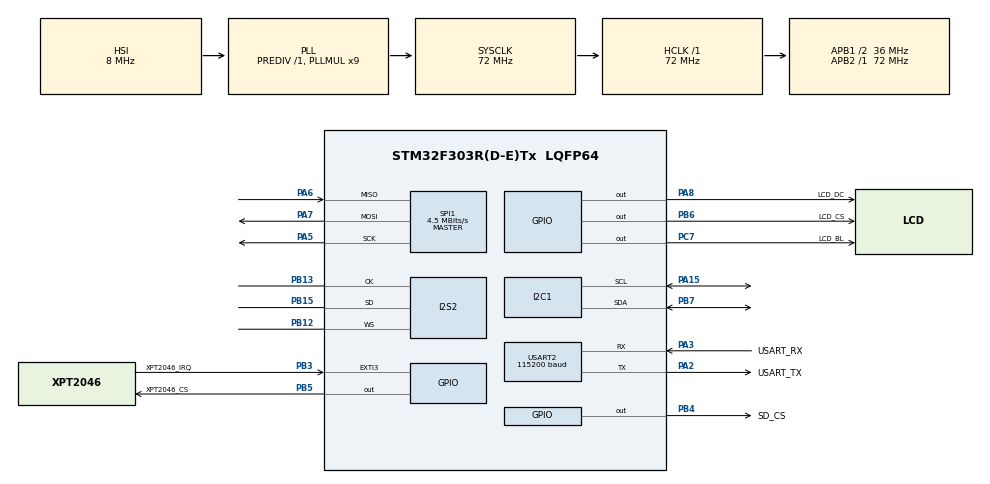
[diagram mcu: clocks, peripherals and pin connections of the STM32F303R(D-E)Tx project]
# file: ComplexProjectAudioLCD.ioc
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Dma.Request0=SPI2_TX
Dma.SPI2_TX.0.Direction=DMA_MEMORY_TO_PERIPH
Dma.SPI2_TX.0.Instance=DMA1_Channel5
Dma.SPI2_TX.0.MemDataAlignment=DMA_MDATAALIGN_HALFWORD
Dma.SPI2_TX.0.MemInc=DMA_MINC_ENABLE
Dma.SPI2_TX.0.Mode=DMA_NORMAL
Dma.SPI2_TX.0.PeriphDataAlignment=DMA_PDATAALIGN_HALFWORD
Dma.SPI2_TX.0.PeriphInc=DMA_PINC_DISABLE
Dma.SPI2_TX.0.Priority=DMA_PRIORITY_VERY_HIGH
I2C1.Timing=0x10808DD3
I2S2.AudioFreq=I2S_AUDIOFREQ_16K
I2S2.ErrorAudioFreq=-0.26 %
I2S2.FullDuplexMode=I2S_FULLDUPLEXMODE_DISABLE
I2S2.Instance=SPI$Index
I2S2.RealAudioFreq=15.957 KHz
I2S2.VirtualMode=I2S_MODE_MASTER
Mcu.Family=STM32F3
Mcu.Name=STM32F303R(D-E)Tx
Mcu.Package=LQFP64
NVIC.DMA1_Channel5_IRQn=true\:0\:0\:false\:false\:true\:false\:true
NVIC.EXTI3_IRQn=true\:1\:0\:true\:false\:true\:true\:true
NVIC.PriorityGroup=NVIC_PRIORITYGROUP_4
PA13.Mode=Serial_Wire
PA13.Signal=SYS_JTMS-SWDIO
PA14.Mode=Serial_Wire
PA14.Signal=SYS_JTCK-SWCLK
PA15.Mode=I2C
PA15.Signal=I2C1_SCL
PA2.GPIO_Label=USART_TX
PA2.GPIO_Mode=GPIO_MODE_AF_PP
PA2.GPIO_PuPd=GPIO_NOPULL
PA2.GPIO_Speed=GPIO_SPEED_FREQ_HIGH
PA2.Mode=Asynchronous
PA2.Signal=USART2_TX
PA3.GPIO_Label=USART_RX
PA3.GPIO_Mode=GPIO_MODE_AF_PP
PA3.GPIO_PuPd=GPIO_NOPULL
PA3.GPIO_Speed=GPIO_SPEED_FREQ_HIGH
PA3.Mode=Asynchronous
PA3.Signal=USART2_RX
PA5.Mode=Full_Duplex_Master
PA5.Signal=SPI1_SCK
PA6.Mode=Full_Duplex_Master
PA6.Signal=SPI1_MISO
PA7.Mode=Full_Duplex_Master
PA7.Signal=SPI1_MOSI
PA8.GPIO_Label=LCD_DC
PA8.GPIO_PuPd=GPIO_PULLUP
PA8.GPIO_Speed=GPIO_SPEED_FREQ_HIGH
PA8.PinState=GPIO_PIN_SET
PA8.Signal=GPIO_Output
PB12.GPIO_Speed=GPIO_SPEED_FREQ_HIGH
PB12.Mode=Half_Duplex_Master
PB12.Signal=I2S2_WS
PB13.GPIO_Speed=GPIO_SPEED_FREQ_HIGH
PB13.Mode=Half_Duplex_Master
PB13.Signal=I2S2_CK
PB15.GPIO_Speed=GPIO_SPEED_FREQ_HIGH
PB15.Mode=Half_Duplex_Master
PB15.Signal=I2S2_SD
PB3.GPIO_Label=XPT2046_IRQ
PB3.GPIO_ModeDefaultEXTI=GPIO_MODE_IT_FALLING
PB3.Signal=GPXTI3
PB4.GPIO_Label=SD_CS
PB4.GPIO_PuPd=GPIO_NOPULL
PB4.GPIO_Speed=GPIO_SPEED_FREQ_HIGH
PB4.PinState=GPIO_PIN_SET
PB4.Signal=GPIO_Output
PB5.GPIO_Label=XPT2046_CS
PB5.GPIO_PuPd=GPIO_PULLUP
PB5.GPIO_Speed=GPIO_SPEED_FREQ_HIGH
PB5.PinState=GPIO_PIN_SET
PB5.Signal=GPIO_Output
PB6.GPIO_Label=LCD_CS
PB6.GPIO_PuPd=GPIO_PULLUP
PB6.GPIO_Speed=GPIO_SPEED_FREQ_HIGH
PB6.PinState=GPIO_PIN_SET
PB6.Signal=GPIO_Output
PB7.GPIO_FM7=SYSCFG_CFGR1_I2C_PB7_FMP
PB7.Mode=I2C
PB7.Signal=I2C1_SDA
PC7.GPIO_Label=LCD_BL
PC7.GPIO_PuPd=GPIO_PULLUP
PC7.GPIO_Speed=GPIO_SPEED_FREQ_HIGH
PC7.PinState=GPIO_PIN_SET
PC7.Signal=GPIO_Output
PF0-OSC_IN.Mode=HSE-External-Oscillator
PF0-OSC_IN.Signal=RCC_OSC_IN
PF1-OSC_OUT.Mode=HSE-External-Oscillator
PF1-OSC_OUT.Signal=RCC_OSC_OUT
ProjectManager.HeapSize=0x500
ProjectManager.StackSize=0x2000
ProjectManager.TargetToolchain=STM32CubeIDE
RCC.AHBFreq_Value=72000000
RCC.APB1CLKDivider=RCC_HCLK_DIV2
RCC.APB1Freq_Value=36000000
RCC.APB1TimFreq_Value=72000000
RCC.APB2Freq_Value=72000000
RCC.APB2TimFreq_Value=72000000
RCC.CortexFreq_Value=72000000
RCC.HCLKFreq_Value=72000000
RCC.HSE_VALUE=8000000
RCC.HSI_VALUE=8000000
RCC.I2c1ClockSelection=RCC_I2C1CLKSOURCE_SYSCLK
RCC.LSE_VALUE=32768
RCC.PLLM=8
RCC.PLLMUL=RCC_PLL_MUL9
RCC.PLLN=336
RCC.PLLP=RCC_PLLP_DIV4
RCC.PLLQ=7
RCC.RCC_PLLsource_Clock_Source_FROM_HSE=RCC_HSE_PREDIV_DIV2
RCC.SYSCLKFreq_VALUE=72000000
RCC.SYSCLKSourceVirtual=RCC_SYSCLKSOURCE_PLLCLK
RCC.USBFreq_Value=72000000
SPI1.BaudRatePrescaler=SPI_BAUDRATEPRESCALER_16
SPI1.CalculateBaudRate=4.5 MBits/s
SPI1.DataSize=SPI_DATASIZE_8BIT
SPI1.Direction=SPI_DIRECTION_2LINES
SPI1.Mode=SPI_MODE_MASTER
SPI1.VirtualType=VM_MASTER
USART2.BaudRate=115200
USART2.VirtualMode-Asynchronous=VM_ASYNC
VP_FATFS_VS_Generic.Mode=User_defined
board=NUCLEO-F303RE

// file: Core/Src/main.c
/* USER CODE BEGIN Header */
/**
  ******************************************************************************
  * @file           : main.c
  * @brief          : Main program body
  ******************************************************************************
  * @attention
  *
  * <h2><center>&copy; Copyright (c) 2021 STMicroelectronics.
  * All rights reserved.</center></h2>
  *
  * This software component is licensed by ST under BSD 3-Clause license,
  * the "License"; You may not use this file except in compliance with the
  * License. You may obtain a copy of the License at:
  *                        opensource.org/licenses/BSD-3-Clause
  *
  ******************************************************************************
  */
/* USER CODE END Header */
#include "main.h"
#include "dma.h"
#include "fatfs.h"
#include "i2c.h"
#include "i2s.h"
#include "spi.h"
#include "usart.h"
#include "gpio.h"

/* USER CODE BEGIN Includes */
#include "AudioBoard/WM8960.h"
#include "stdio.h"
#include "AudioBoard/Play_WAV.h"
#include "LCD/lcd_driver.h"
#include "Touch/Touch.h"
#include "BMPImages/fatfs_storage.h"
#include "Images/mainImg.c"
/* USER CODE END Includes */

/* USER CODE BEGIN PV */
char* pDirectoryFiles[MAX_BMP_FILES];
FATFS microSDFatFs;
uint8_t str[20];
uint8_t res;
uint8_t pos;
volatile uint8_t pageNumber=0;
volatile uint8_t playFlag=0;
volatile uint8_t displayImgFlag=0;
uint32_t tick=0;
uint8_t volumeLevel=112;

uint32_t bmplen = 0x00;
uint32_t checkstatus = 0x00;
uint32_t filesnumbers = 0x00;
uint32_t bmpcounter = 0x00;
DIR directory;
FRESULT res;

/* USER CODE END PV */

void SystemClock_Config(void);
/* USER CODE BEGIN PFP */
static void display_images(void);
/* USER CODE END PFP */

/* USER CODE BEGIN 0 */
#ifdef __GNUC__
  #define PUTCHAR_PROTOTYPE int __io_putchar(int ch)
#else
  #define PUTCHAR_PROTOTYPE int fputc(int ch, FILE *f)
#endif /* __GNUC__ */
/**
  * @brief  Retargets the C library printf function to the USART.
  * @param  None
  * @retval None
  */
PUTCHAR_PROTOTYPE
{
  HAL_UART_Transmit(&huart2, (uint8_t *)&ch, 1, 0xFFFF);

  return ch;
}

static void display_images_init(void);
/* USER CODE END 0 */

int main(void)
{

  /* MCU Configuration--------------------------------------------------------*/

  /* Reset of all peripherals, Initializes the Flash interface and the Systick. */
  HAL_Init();

  /* Configure the system clock */
  SystemClock_Config();

  /* Initialize all configured peripherals */
  MX_GPIO_Init();
  MX_USART2_UART_Init();
  MX_DMA_Init();
  MX_I2C1_Init();
  MX_I2S2_Init();
  MX_SPI1_Init();
  MX_FATFS_Init();
  /* USER CODE BEGIN 2 */
  //disable lcd irq
  HAL_NVIC_DisableIRQ(EXTI3_IRQn);
  lcd_init();
  tp_init();
  tp_adjust();

  //enable lcd irq
  HAL_NVIC_EnableIRQ(EXTI3_IRQn);

  /* Check the mounted device */
  res = WM89060_Init();
  if(res == 0)  {
	printf("WM89060_Init complete !!\r\n");
  }
  else  {
	printf("WM89060_Init fail ! Error code: %d\r\n", res);
	while(1)  {
	  HAL_Delay(1000);
	}
  }

  if(f_mount(&microSDFatFs, (TCHAR const*)"/", 0) != FR_OK)  {
	printf("f_mount fail ! Error code: %d\r\n");
	while(1);
  }
  else{
	printf("f_mount completed !!\r\n");
	for (int counter = 0; counter < MAX_BMP_FILES; counter++){
	  pDirectoryFiles[counter] = malloc(13);
	}
  }
  ScanWavefiles("0:/music");//Place the WAV file in the music folder

  setRotation(3);
  lcd_draw_image(0);
  display_images_init();

  /* USER CODE END 2 */

  /* Infinite loop */
  while (1)
  {

    /* USER CODE BEGIN 3 */
	  if (playFlag==1) {
	 		//refresh song name on toolbar
	 		lcd_copy(0, 0, 320, 20, &toolbarImg, sizeof(toolbarImg));
	 	    lcd_display_string(5,1,(const uint8_t *)"Now Play:",FONT_1608,RED);
	 	    lcd_display_string(80,1,(const uint8_t *)Play_List[Music_Num]+9,FONT_1608,RED);

	 		PlayWaveFile();
	 		Music_Num++;
	 		if(Music_Num >= Music_Num_MAX)
	 			Music_Num = 0;
	 	}

	 	  if (displayImgFlag==1) {
	 		display_images();
	 		displayImgFlag=0;
	 	}
  }
  /* USER CODE END 3 */
}

void SystemClock_Config(void)
{
  RCC_OscInitTypeDef RCC_OscInitStruct = {0};
  RCC_ClkInitTypeDef RCC_ClkInitStruct = {0};
  RCC_PeriphCLKInitTypeDef PeriphClkInit = {0};

  /** Initializes the RCC Oscillators according to the specified parameters
  * in the RCC_OscInitTypeDef structure.
  */
  RCC_OscInitStruct.OscillatorType = RCC_OSCILLATORTYPE_HSI;
  RCC_OscInitStruct.HSIState = RCC_HSI_ON;
  RCC_OscInitStruct.HSICalibrationValue = RCC_HSICALIBRATION_DEFAULT;
  RCC_OscInitStruct.PLL.PLLState = RCC_PLL_ON;
  RCC_OscInitStruct.PLL.PLLSource = RCC_PLLSOURCE_HSI;
  RCC_OscInitStruct.PLL.PLLMUL = RCC_PLL_MUL9;
  RCC_OscInitStruct.PLL.PREDIV = RCC_PREDIV_DIV1;
  if (HAL_RCC_OscConfig(&RCC_OscInitStruct) != HAL_OK)
  {
    Error_Handler();
  }
  /** Initializes the CPU, AHB and APB buses clocks
  */
  RCC_ClkInitStruct.ClockType = RCC_CLOCKTYPE_HCLK|RCC_CLOCKTYPE_SYSCLK
                              |RCC_CLOCKTYPE_PCLK1|RCC_CLOCKTYPE_PCLK2;
  RCC_ClkInitStruct.SYSCLKSource = RCC_SYSCLKSOURCE_PLLCLK;
  RCC_ClkInitStruct.AHBCLKDivider = RCC_SYSCLK_DIV1;
  RCC_ClkInitStruct.APB1CLKDivider = RCC_HCLK_DIV2;
  RCC_ClkInitStruct.APB2CLKDivider = RCC_HCLK_DIV1;

  if (HAL_RCC_ClockConfig(&RCC_ClkInitStruct, FLASH_LATENCY_2) != HAL_OK)
  {
    Error_Handler();
  }
  PeriphClkInit.PeriphClockSelection = RCC_PERIPHCLK_I2S|RCC_PERIPHCLK_USART2
                              |RCC_PERIPHCLK_I2C1;
  PeriphClkInit.Usart2ClockSelection = RCC_USART2CLKSOURCE_PCLK1;
  PeriphClkInit.I2sClockSelection = RCC_I2SCLKSOURCE_SYSCLK;
  PeriphClkInit.I2c1ClockSelection = RCC_I2C1CLKSOURCE_SYSCLK;
  if (HAL_RCCEx_PeriphCLKConfig(&PeriphClkInit) != HAL_OK)
  {
    Error_Handler();
  }
}

/* USER CODE BEGIN 4 */
static void display_images_init(void)
{
	/* Open directory */
    res= f_opendir(&directory, "/");
    if((res != FR_OK))
    {
      if(res == FR_NO_FILESYSTEM)
      {
        /* Display message: SD card not FAT formated */
        lcd_display_string(0, 32, (const uint8_t *)"SD_CARD_NOT_FORMATTED", 16, RED);

      }
      else
      {
        /* Display message: Fail to open directory */
         lcd_display_string(0, 48, (const uint8_t *)"SD_CARD_OPEN_FAIL", 16, RED);
      }
    }

    /* Get number of bitmap files */
    filesnumbers = Storage_GetDirectoryBitmapFiles ("/", pDirectoryFiles);
	printf("filesnumbers %d",filesnumbers);
    /* Set bitmap counter to display first image */
	f_closedir(&directory);

}

static void display_images(void){

		sprintf((char*)str, "%-11.11s", pDirectoryFiles[bmpcounter -1]);
		HAL_NVIC_DisableIRQ(EXTI3_IRQn);
		Storage_OpenReadFile(0, 0, (const char*)str);
		HAL_NVIC_EnableIRQ(EXTI3_IRQn);

}

void HAL_I2S_TxHalfCpltCallback(I2S_HandleTypeDef *hi2s)  {

  I2S_Flag = I2S_Half_Callback;

}

void HAL_I2S_TxCpltCallback(I2S_HandleTypeDef *hi2s)
{
  /* Manage the remaining file size and new address offset: */

  /* Check if the end of file has been reached */
	I2S_Flag = I2S_Callback;
  if(WAV_LastData >= WAV_BUFFER_SIZE)  {
    HAL_I2S_Transmit_DMA(&hi2s2,(uint16_t *)WAV_Buffer, WAV_BUFFER_SIZE/2);
  }
  else  {
    Play_Flag = 0;
    End_Flag = 1;
  }
}

void HAL_GPIO_EXTI_Callback(uint16_t GPIO_Pin){
	if (HAL_GetTick()-tick>100) {
	tp_scan(0);
	switch (pageNumber) {
		case 0:
			if (s_tTouch.chStatus & TP_PRESS_DOWN) {
				if (s_tTouch.hwXpos < LCD_WIDTH && s_tTouch.hwYpos < LCD_HEIGHT) {
					if ((s_tTouch.hwYpos > 57 && s_tTouch.hwYpos < 118) && (s_tTouch.hwXpos < 118 && s_tTouch.hwXpos>60)) {
						lcd_copy(203, 60, 74, 58, &pressedphonesImg, sizeof(pressedphonesImg));
						HAL_Delay(100);
						pageNumber=1;
						lcd_draw_image(1);
					}
					else if ((s_tTouch.hwYpos > 210 && s_tTouch.hwYpos < 270) && (s_tTouch.hwXpos < 118 && s_tTouch.hwXpos>60)) {
						bmpcounter=1;
						lcd_copy(50, 60, 59, 58, &pressedphotoImg, sizeof(pressedphotoImg));
						HAL_Delay(100);
						setRotation(0);
						displayImgFlag=1;
						pageNumber=2;
					}
				}
			}
			break;
		case 1:
				if (s_tTouch.chStatus & TP_PRESS_DOWN) {
					if (s_tTouch.hwXpos < LCD_WIDTH && s_tTouch.hwYpos < LCD_HEIGHT) {
						if ((s_tTouch.hwXpos > 30 && s_tTouch.hwXpos < 55) && (s_tTouch.hwYpos < 315 && s_tTouch.hwYpos>295)) {
							lcd_copy(5, 30, 24, 20, &pressedbackImg, sizeof(pressedbackImg));
							HAL_I2S_DMAStop(&hi2s2);
							pageNumber=0;
							playFlag=0;
							End_Flag=1;
							Play_Flag=0;
							HAL_Delay(100);
							lcd_draw_image(0);
						}
						else if ((s_tTouch.hwXpos > 60 && s_tTouch.hwXpos < 105) && (s_tTouch.hwYpos < 55 && s_tTouch.hwYpos>10)) {
							lcd_copy(266, 60, 44, 44, &pressedplusImg, sizeof(pressedplusImg));
							if (volumeLevel<112) {
								volumeLevel+=4;
								WM8960_Write_Reg(0x02, volumeLevel | 0x0100);  //LOUT1 Volume Set
								WM8960_Write_Reg(0x03, volumeLevel | 0x0100);
							}

							lcd_copy(266, 60, 44, 44, &plusImg, sizeof(plusImg));
						}
						else if ((s_tTouch.hwXpos > 120 && s_tTouch.hwXpos < 165) && (s_tTouch.hwYpos < 55 && s_tTouch.hwYpos>10)) {
							lcd_copy(266, 120, 44, 44, &pressedminusImg, sizeof(pressedminusImg));
							if (volumeLevel>60) {
								volumeLevel-=4;
								WM8960_Write_Reg(0x02, volumeLevel | 0x0100);  //LOUT1 Volume Set
								WM8960_Write_Reg(0x03, volumeLevel | 0x0100);
							}
							lcd_copy(266, 120, 44, 44, &minusImg, sizeof(minusImg));
						}
						else if ((s_tTouch.hwXpos > 180 && s_tTouch.hwXpos < 240) && (s_tTouch.hwYpos < 69 && s_tTouch.hwYpos>11)) {
							lcd_copy(251, 181, 58, 58, &pressedrightArrowImg, sizeof(pressedrightArrowImg));
							Play_Flag=0;
							End_Flag = 1;
							HAL_I2S_DMAStop(&hi2s2);

							HAL_Delay(100);
							lcd_copy(251, 181, 58, 58, &rightArrowImg, sizeof(rightArrowImg));
						}
						else if ((s_tTouch.hwXpos > 180 && s_tTouch.hwXpos < 240) && (s_tTouch.hwYpos < 149 && s_tTouch.hwYpos>91)) {
							lcd_copy(171, 181, 58, 58, &pressedpauseImg, sizeof(pressedpauseImg));
							lcd_copy(91, 181, 58, 58, &playImg, sizeof(playImg));
							if (playFlag==1) {
								HAL_I2S_DMAPause(&hi2s2);
							}
							HAL_Delay(100);
							lcd_copy(171, 181, 58, 58, &pauseImg, sizeof(pauseImg));
						}
						else if ((s_tTouch.hwXpos > 180 && s_tTouch.hwXpos < 240) && (s_tTouch.hwYpos < 229 && s_tTouch.hwYpos>171)) {
							lcd_copy(91, 181, 58, 58, &pressedplayImg, sizeof(pressedplayImg));
							playFlag=1;
							HAL_I2S_DMAResume(&hi2s2);
						}
						else if ((s_tTouch.hwXpos > 180 && s_tTouch.hwXpos < 240) && (s_tTouch.hwYpos < 309 && s_tTouch.hwYpos>251)) {
							lcd_copy(11, 181, 58, 58, &pressedleftArrowImg, sizeof(pressedleftArrowImg));
							Music_Num -= 2;
							if(Music_Num < 0)
								Music_Num += Music_Num_MAX;
							Play_Flag = 0;
							End_Flag = 1;
							HAL_I2S_DMAStop(&hi2s2);

							HAL_Delay(100);
							lcd_copy(11, 181, 58, 58, &leftArrowImg, sizeof(leftArrowImg));
						}
					}
				}
			break;
		case 2:
			if (s_tTouch.chStatus & TP_PRESS_DOWN) {
				if (s_tTouch.hwXpos < LCD_WIDTH && s_tTouch.hwYpos < LCD_HEIGHT) {
					if ((s_tTouch.hwXpos > 0 && s_tTouch.hwXpos < 120) && (s_tTouch.hwYpos < 220 && s_tTouch.hwYpos>0)) {
						if (bmpcounter>1) {
							bmpcounter--;
							displayImgFlag=1;
						}
						else{
							bmpcounter=filesnumbers;
							displayImgFlag=1;
						}
						//prev
					}
					else if ((s_tTouch.hwXpos > 120 && s_tTouch.hwXpos < 240) && (s_tTouch.hwYpos < 220 && s_tTouch.hwYpos>0)) {
				        if(bmpcounter > filesnumbers)
				        {
				          bmpcounter = 1;
				          displayImgFlag=1;
				        }
				        else{
				        	 bmpcounter++;
				        	 displayImgFlag=1;
				        }
					}
					else if ((s_tTouch.hwXpos > 0 && s_tTouch.hwXpos < 240) && (s_tTouch.hwYpos < 320 && s_tTouch.hwYpos>220)) {
						bmpcounter=1;
						displayImgFlag=0;
						pageNumber=0;
						setRotation(3);
						lcd_draw_image(0);
					}
				}
			}
			break;
		default:
			break;
		}

	tick=HAL_GetTick();
	s_tTouch.hwXpos0 = 0;
	s_tTouch.hwYpos0 = 0;
	s_tTouch.hwXpos = 0xffff;
	s_tTouch.hwYpos = 0xffff;
	s_tTouch.chStatus &= ~(1 << 7);
	}
}

/* USER CODE END 4 */

void Error_Handler(void)
{
  __disable_irq();
  while (1)
  {
  }
}

/************************ (C) COPYRIGHT STMicroelectronics *****END OF FILE****/
